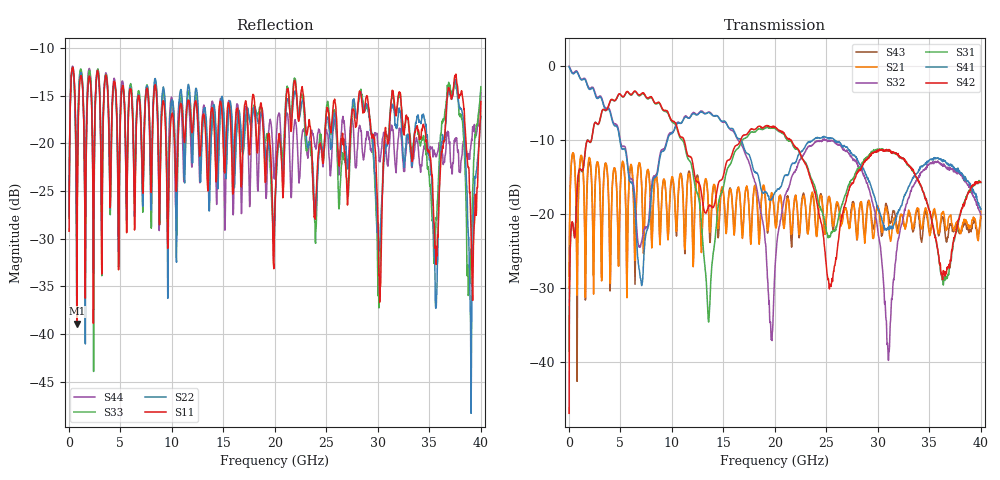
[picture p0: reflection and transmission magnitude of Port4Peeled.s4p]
! File created by SignalIntegrity v1.1.7: Signal and Power Integrity Tools
! https://github.com/TeledyneLeCroy/SignalIntegrity
# MHz MA S R 50.0
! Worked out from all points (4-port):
!   1600 points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, 25 MHz to 40 GHz, reference 50 ohm
!   strongest paths, dB at 25 MHz, 10.03 GHz, 20.02 GHz, 30.02 GHz, 40 GHz:
!     S42: -47.0, -7.5, -8.3, -11.4, -15.8
!     S41: -0.2, -9.1, -17.1, -19.2, -19.4
!     S31: -38.6, -7.6, -8.5, -11.4, -15.8
!     S32: -0.1, -9.0, -27.0, -22.6, -20.2
!     S21: -30.1, -15.0, -21.4, -19.0, -19.7
!     S43: -28.4, -15.3, -21.1, -19.0, -20.5
!   lowest |S11| = -38.9 dB at 775 MHz (marker M1), VSWR 1.02, Z = 49 - j0.586 ohm
!   |S11| at or under -10 dB: start of sweep to end of sweep
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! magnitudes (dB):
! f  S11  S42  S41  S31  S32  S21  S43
! 25 MHz  -29.2  -47.0  -0.2  -38.6  -0.1  -30.1  -28.4
! 775 MHz  -38.9  -17.5  -0.9  -17.6  -0.7  -28.4  -29.8
! 7 GHz  -17.9  -3.9  -29.1  -4.0  -24.1  -14.4  -14.5
! 13.55 GHz  -23.6  -19.1  -6.3  -34.5  -6.3  -19.2  -19.2
! 19.65 GHz  -22.4  -8.2  -18.1  -8.4  -37.0  -17.3  -17.6
! 24.05 GHz  -24.4  -18.3  -9.8  -17.3  -10.2  -23.1  -23.0
! 40 GHz  -15.6  -15.8  -19.4  -15.8  -20.2  -19.7  -20.5
